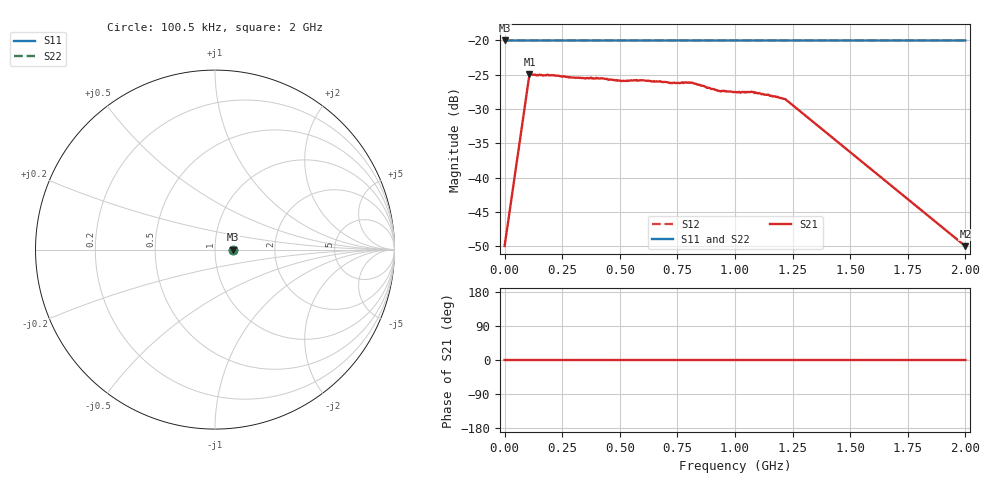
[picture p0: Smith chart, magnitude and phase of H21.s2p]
!Keysight  Technologies  E5080A  MY55200964  A.12.55.09
!Correction:  S11(Full  2  Port(1  2))
!S21(Full  2  Port(1  2))
!S12(Full  2  Port(1  2))
!S22(Full  2  Port(1  2))
!S2P  File:  Measurements:  S11 S21 S12 S22:
#  Hz  S  dB  R  50
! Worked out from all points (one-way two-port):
!   19894 points, 100.5 kHz to 2 GHz, reference 50 ohm
!   highest |S21| = -24.92 dB at 108.1 MHz (marker M1); lowest = -50.0 dB at 2 GHz (marker M2)
!   lowest |S11| = -20.0 dB at 100.5 kHz (marker M3), VSWR 1.22, Z = 61.1 + j0 ohm
!   |S11| at or under -10 dB: start of sweep to end of sweep
!   |S22| runs from -20.0 to -20.0 dB; largest |S21 - S12| = 0.097
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100524.9  -20.00 0.0  -49.98 0.0  -20.00 0.0  -20.00 0.0
4825195  -20.00 0.0  -48.88 0.0  -20.00 0.0  -20.00 0.0
9549866  -20.00 0.0  -47.78 0.0  -20.00 0.0  -20.00 0.0
6.262702e7  -20.00 0.0  -35.46 0.0  -20.00 0.0  -20.00 0.0
9.881598e7  -20.00 0.0  -27.05 0.0  -20.00 0.0  -20.00 0.0
1.080643e8  -20.00 0.0  -24.92 0.0  -20.00 0.0  -20.00 0.0
1.127889e8  -20.00 0.0  -24.93 0.0  -20.00 0.0  -20.00 0.0
1.176141e8  -20.00 0.0  -24.96 0.0  -20.00 0.0  -20.00 0.0
3.334411e8  -20.00 0.0  -25.50 0.0  -20.00 0.0  -20.00 0.0
4.234109e8  -20.00 0.0  -25.54 0.0  -20.00 0.0  -20.00 0.0
5.152906e8  -20.00 0.0  -25.89 0.0  -20.00 0.0  -20.00 0.0
5.955095e8  -20.00 0.0  -25.83 0.0  -20.00 0.0  -20.00 0.0
6.666812e8  -20.00 0.0  -25.99 0.0  -20.00 0.0  -20.00 0.0
7.219698e8  -20.00 0.0  -26.19 0.0  -20.00 0.0  -20.00 0.0
8.098286e8  -20.00 0.0  -26.15 0.0  -20.00 0.0  -20.00 0.0
9.293527e8  -20.00 0.0  -27.37 0.0  -20.00 0.0  -20.00 0.0
1.000022e9  -20.00 0.0  -27.53 0.0  -20.00 0.0  -20.00 0.0
1.073103e9  -20.00 0.0  -27.51 0.0  -20.00 0.0  -20.00 0.0
1.21233e9  -20.00 0.0  -28.52 0.0  -20.00 0.0  -20.00 0.0
1.333362e9  -20.00 0.0  -31.72 0.0  -20.00 0.0  -20.00 0.0
1.666602e9  -20.00 0.0  -40.86 0.0  -20.00 0.0  -20.00 0.0
1.999842e9  -20.00 0.0  -50.00 0.0  -20.00 0.0  -20.00 0.0
